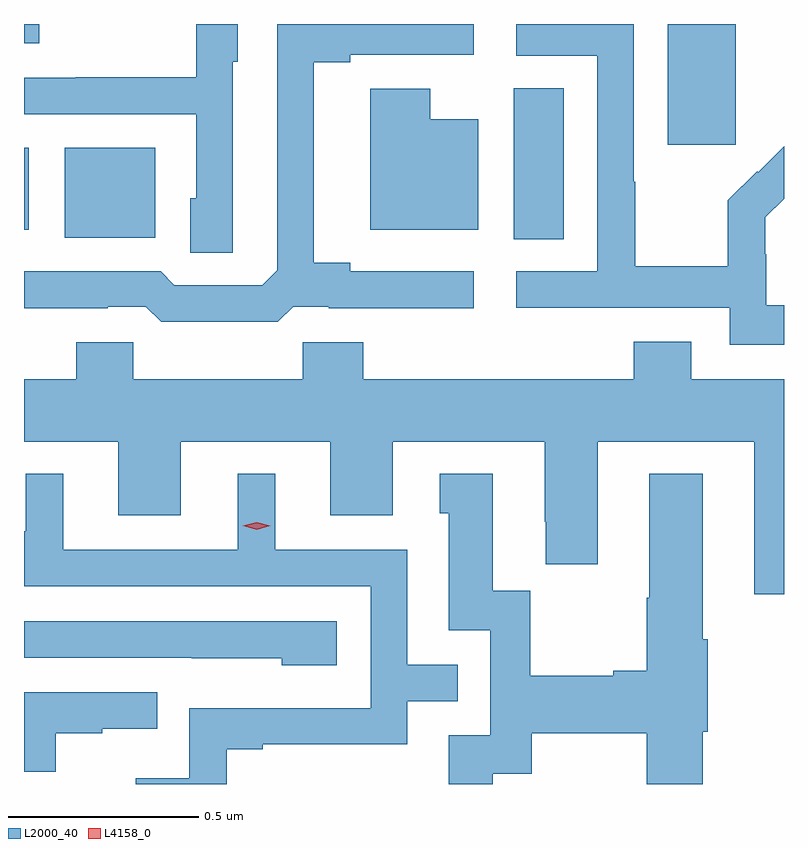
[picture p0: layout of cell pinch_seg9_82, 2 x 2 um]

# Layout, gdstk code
import gdstk
lib = gdstk.Library(unit=1e-6, precision=1e-09)
def R(c, l, rs):  # rectangles x0, y0, x1, y1
    for r in rs: c.add(gdstk.rectangle(r[:2], r[2:], *l))
def P(c, l, *ps):  # polygons
    for p in ps: c.add(gdstk.Polygon(p, *l))
L2000_40 = (2000, 40)
L4158_0 = (4158, 0)

pinch_seg9_82 = lib.new_cell('pinch_seg9_82')
R(pinch_seg9_82, L2000_40, [(1117.076,1202.281,1117.207,1202.678), (1115.894,1202.285,1116.133,1202.521), (1115.787,1202.306,1115.8,1202.521), (1117.481,1202.529,1117.66,1202.847), (1115.787,1202.796,1115.827,1202.847)])
P(pinch_seg9_82, L2000_40, [(1117.787,1202.107),(1117.74,1202.107),(1117.74,1202.241),(1117.738,1202.241),(1117.738,1202.338),(1117.787,1202.387),(1117.787,1202.525),(1117.719,1202.457),(1117.716,1202.46),(1117.639,1202.383),(1117.639,1202.209),(1117.395,1202.209),(1117.395,1202.432),(1117.392,1202.432),(1117.392,1202.847),(1117.083,1202.847),(1117.083,1202.763),(1117.296,1202.763),(1117.296,1202.196),(1117.083,1202.196),(1117.083,1202.1),(1117.644,1202.1),(1117.644,1202.003),(1117.787,1202.003)],
  [(1116.336,1202.748),(1116.349,1202.748),(1116.349,1202.847),(1116.24,1202.847),(1116.24,1202.707),(1115.923,1202.707),(1115.923,1202.706),(1115.787,1202.706),(1115.787,1202.61),(1116.24,1202.61),(1116.24,1202.388),(1116.224,1202.388),(1116.224,1202.245),(1116.336,1202.245)],
  [(1116.495,1202.103),(1116.589,1202.103),(1116.589,1202.099),(1116.97,1202.099),(1116.97,1202.196),(1116.646,1202.196),(1116.646,1202.219),(1116.55,1202.219),(1116.55,1202.746),(1116.646,1202.746),(1116.646,1202.766),(1116.97,1202.766),(1116.97,1202.847),(1116.453,1202.847),(1116.453,1202.199),(1116.414,1202.16),(1116.183,1202.16),(1116.147,1202.196),(1115.787,1202.196),(1115.787,1202.099),(1116.008,1202.099),(1116.008,1202.103),(1116.108,1202.103),(1116.148,1202.064),(1116.455,1202.064)],
  [(1116.982,1202.596),(1116.856,1202.596),(1116.856,1202.677),(1116.698,1202.677),(1116.698,1202.306),(1116.982,1202.306)],
  [(1117.391,1202.011),(1117.391,1201.912),(1116.68,1201.912),(1116.68,1202.01),(1116.52,1202.01),(1116.52,1201.912),(1116.075,1201.912),(1116.075,1202.01),(1115.924,1202.01),(1115.924,1201.912),(1115.787,1201.912),(1115.787,1201.748),(1116.035,1201.748),(1116.035,1201.554),(1116.199,1201.554),(1116.199,1201.748),(1116.593,1201.748),(1116.593,1201.554),(1116.757,1201.554),(1116.757,1201.748),(1117.157,1201.748),(1117.157,1201.537),(1117.16,1201.537),(1117.16,1201.425),(1117.297,1201.425),(1117.297,1201.748),(1117.709,1201.748),(1117.709,1201.347),(1117.787,1201.347),(1117.787,1201.912),(1117.543,1201.912),(1117.543,1202.011)],
  [(1117.021,1200.874),(1117.123,1200.874),(1117.123,1200.98),(1117.426,1200.98),(1117.426,1200.847),(1117.573,1200.847),(1117.573,1200.984),(1117.586,1200.984),(1117.586,1201.228),(1117.573,1201.228),(1117.573,1201.663),(1117.433,1201.663),(1117.433,1201.337),(1117.426,1201.337),(1117.426,1201.145),(1117.337,1201.145),(1117.337,1201.132),(1117.119,1201.132),(1117.119,1201.355),(1117.021,1201.355),(1117.021,1201.663),(1116.881,1201.663),(1116.881,1201.56),(1116.905,1201.56),(1116.905,1201.251),(1117.014,1201.251),(1117.014,1200.975),(1116.905,1200.975),(1116.905,1200.847),(1117.021,1200.847)],
  [(1116.321,1200.939),(1116.415,1200.939),(1116.415,1200.951),(1116.795,1200.951),(1116.795,1201.065),(1116.929,1201.065),(1116.929,1201.161),(1116.795,1201.161),(1116.795,1201.464),(1116.448,1201.464),(1116.448,1201.663),(1116.35,1201.663),(1116.35,1201.464),(1115.89,1201.464),(1115.89,1201.663),(1115.792,1201.663),(1115.792,1201.512),(1115.787,1201.512),(1115.787,1201.368),(1116.699,1201.368),(1116.699,1201.047),(1116.222,1201.047),(1116.222,1200.862),(1116.081,1200.862),(1116.081,1200.847),(1116.321,1200.847)],
  [(1116.61,1201.275),(1115.787,1201.275),(1115.787,1201.179),(1116.229,1201.179),(1116.229,1201.178),(1116.465,1201.178),(1116.465,1201.16),(1116.61,1201.16)],
  [(1115.87,1200.981),(1115.993,1200.981),(1115.993,1200.992),(1116.137,1200.992),(1116.137,1201.089),(1115.787,1201.089),(1115.787,1200.879),(1115.87,1200.879)])
P(pinch_seg9_82, L4158_0, [(1116.399,1201.516),(1116.363,1201.526),(1116.363,1201.526),(1116.363,1201.526),(1116.399,1201.536),(1116.435,1201.527),(1116.435,1201.527),(1116.435,1201.527)])

lib.write_gds('pinch_seg9_82.gds')
